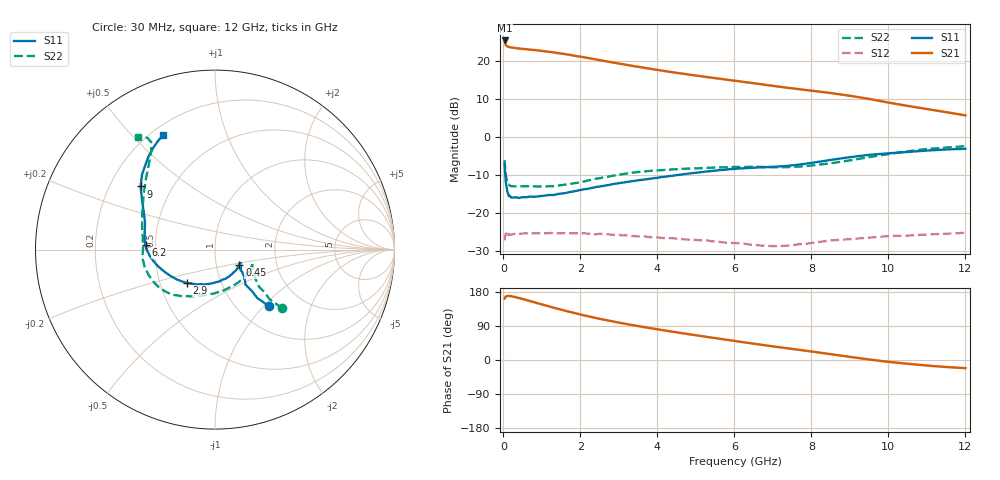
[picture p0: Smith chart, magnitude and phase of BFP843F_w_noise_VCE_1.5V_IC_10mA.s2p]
! Infineon Technologies  Discrete & RF Semiconductors
! BFP843F
! VCE =  1.5 V,  IC =  10 mA
! Common Emitter S-Parameters:  Aug 2013
# GHz  S  MA  R  50
!  f  S11  S21  S12  S22
! GHz  MAG  ANG  MAG  ANG  MAG  ANG  MAG  ANG
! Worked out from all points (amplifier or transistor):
!   103 points, 30 MHz to 12 GHz, reference 50 ohm
!   highest |S21| = 25.4 dB at 30 MHz (marker M1)
!   |S21| within 3 dB of that: start of sweep to 1.189 GHz
!   unconditionally stable (mu >= 1): 168.6 MHz to 995 MHz; 1.014 GHz to 1.127 GHz; 2.169 GHz to end of sweep
!   at 400 MHz: K = 1.01, MAG = 23.8 dB, |S12| = -25.6 dB
!   at 3.7 GHz: K = 1.12, MAG = 20.1 dB, |S12| = -26.2 dB
!   at 12 GHz: K = 1.34, MAG = 12.0 dB, |S12| = -25.2 dB
!   lowest NFmin = 0.79 dB at 450 MHz
!   S11 on the Smith chart (normalised r, x): 30 MHz: 1.38, -1.08; 450 MHz: 1.29, -0.22; 2.9 GHz: 0.69, -0.27; 6.2 GHz: 0.44, +0.02; 9 GHz: 0.33, +0.33; 12 GHz: 0.25, +0.62
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0.03  0.4373 -46.3  18.7 162.2  0.0436 31.3  0.4972 -41.1
0.04  0.3558 -48.9  17.51 163.3  0.0486 22.0  0.4131 -42.3
0.05  0.3089 -48.3  16.71 166.1  0.0501 16.8  0.3612 -40.7
0.06  0.2588 -49.0  16.39 167.1  0.0536 14.1  0.3212 -40.2
0.08  0.221 -43.0  15.89 168.3  0.0526 11.7  0.2783 -36.0
0.13  0.1767 -35.2  15.39 169.3  0.0515 8.4  0.236 -27.3
0.45  0.1602 -31.8  14.56 162.3  0.0535 2.7  0.2243 -27.3
0.9  0.1656 -55.0  13.82 149.4  0.054 0.2  0.2231 -48.3
1.3  0.1722 -75.9  13.03 138.1  0.0546 -1.5  0.2256 -68.5
1.7  0.1879 -93.9  12.13 127.5  0.0545 -2.8  0.2386 -87.1
2.1  0.2054 -109.0  11.21 117.6  0.0543 -4.4  0.2608 -103.2
2.9  0.2429 -130.1  9.491 100.6  0.0516 -7.6  0.3136 -124.1
3.5  0.2698 -142.0  8.411 89.5  0.0491 -8.5  0.3468 -134.0
4.1  0.2967 -152.6  7.528 79.4  0.0469 -8.5  0.3663 -142.2
5  0.3392 -166.4  6.458 65.3  0.0442 -7.3  0.387 -153.5
6.1  0.3851 178.2  5.446 48.9  0.04 -4.6  0.4037 -167.8
6.2  0.3865 176.5  5.36 47.4  0.0397 -4.0  0.4043 -169.1
7.1  0.4087 162.8  4.651 34.6  0.0366 4.2  0.4009 178.6
8.5  0.4997 144.7  3.798 15.4  0.0435 15.0  0.4511 154.1
9  0.5439 139.7  3.497 8.2  0.0453 16.0  0.4932 144.0
10.5  0.6369 125.6  2.573 -9.9  0.0504 16.6  0.6498 123.2
12  0.7012 114.3  1.931 -21.5  0.0549 20.5  0.7587 124.3
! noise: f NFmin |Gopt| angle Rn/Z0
0.45  0.79  0.04  18  0.02
0.9  0.8  0.04  35  0.03
1.5  0.85  0.05  55  0.04
1.9  0.89  0.05  77  0.04
2.4  0.93  0.06  96  0.05
3.5  0.99  0.08  129  0.1
5.5  1.09  0.16  -176  0.17
10  1.66  0.36  -114  0.28
